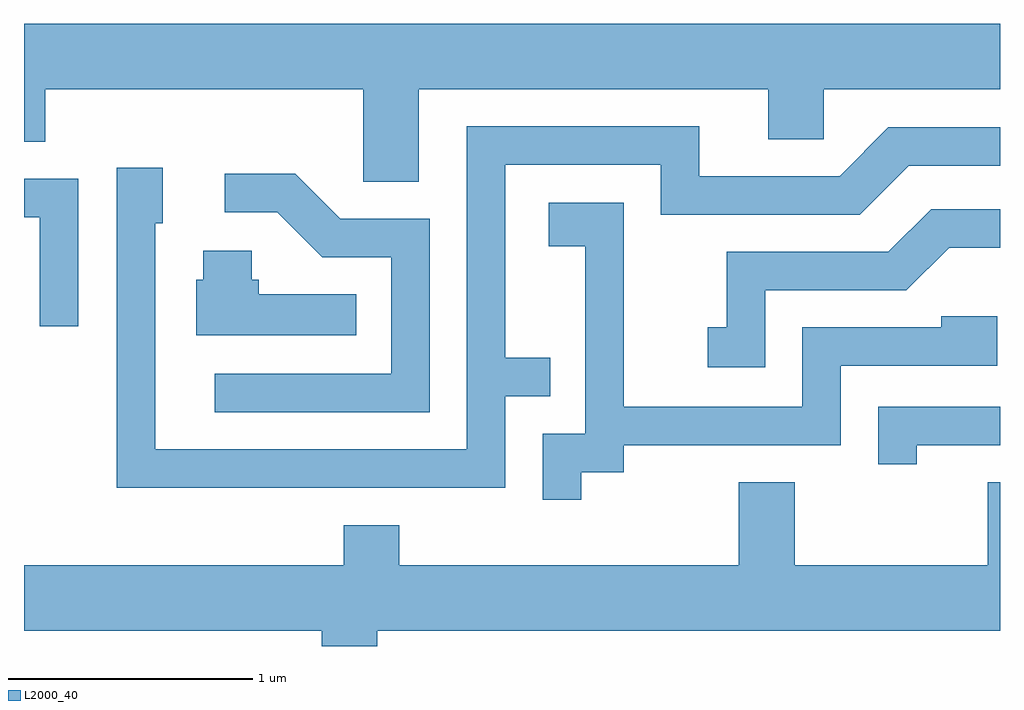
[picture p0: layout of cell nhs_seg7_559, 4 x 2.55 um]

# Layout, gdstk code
import gdstk
lib = gdstk.Library(unit=1e-6, precision=1e-09)
def P(c, l, *ps):  # polygons
    for p in ps: c.add(gdstk.Polygon(p, *l))
L2000_40 = (2000, 40)

nhs_seg7_559 = lib.new_cell('nhs_seg7_559')
P(nhs_seg7_559, L2000_40, [(203.229,1716.536),(204.661,1716.536),(204.661,1716.331),(204.889,1716.331),(204.889,1716.536),(205.611,1716.536),(205.611,1716.804),(201.611,1716.804),(201.611,1716.321),(201.699,1716.321),(201.699,1716.536),(203.001,1716.536),(203.001,1716.156),(203.229,1716.156)],
  [(203.584,1715.276),(203.768,1715.276),(203.768,1715.434),(203.584,1715.434),(203.584,1716.226),(204.221,1716.226),(204.221,1716.021),(205.037,1716.021),(205.237,1716.221),(205.611,1716.221),(205.611,1716.379),(205.154,1716.379),(204.954,1716.179),(204.379,1716.179),(204.379,1716.384),(203.426,1716.384),(203.426,1715.059),(202.149,1715.059),(202.149,1715.986),(202.179,1715.986),(202.179,1716.214),(201.991,1716.214),(201.991,1714.901),(203.584,1714.901)],
  [(203.274,1716.004),(202.907,1716.004),(202.722,1716.189),(202.433,1716.189),(202.433,1716.031),(202.649,1716.031),(202.834,1715.846),(203.116,1715.846),(203.116,1715.369),(202.393,1715.369),(202.393,1715.211),(203.274,1715.211)],
  [(201.834,1716.169),(201.611,1716.169),(201.611,1716.011),(201.676,1716.011),(201.676,1715.563),(201.834,1715.563)],
  [(203.894,1714.966),(204.069,1714.966),(204.069,1715.076),(204.959,1715.076),(204.959,1715.401),(205.599,1715.401),(205.599,1715.604),(205.371,1715.604),(205.371,1715.559),(204.801,1715.559),(204.801,1715.234),(204.069,1715.234),(204.069,1716.069),(203.761,1716.069),(203.761,1715.891),(203.911,1715.891),(203.911,1715.124),(203.736,1715.124),(203.736,1714.853),(203.894,1714.853)],
  [(204.649,1715.711),(205.227,1715.711),(205.402,1715.886),(205.611,1715.886),(205.611,1716.044),(205.329,1716.044),(205.154,1715.869),(204.491,1715.869),(204.491,1715.559),(204.413,1715.559),(204.413,1715.396),(204.649,1715.396)],
  [(202.973,1715.694),(202.574,1715.694),(202.574,1715.754),(202.544,1715.754),(202.544,1715.874),(202.346,1715.874),(202.346,1715.754),(202.316,1715.754),(202.316,1715.526),(202.973,1715.526)],
  [(205.269,1715.076),(205.611,1715.076),(205.611,1715.234),(205.111,1715.234),(205.111,1714.998),(205.269,1714.998)],
  [(203.059,1714.316),(205.611,1714.316),(205.611,1714.924),(205.561,1714.924),(205.561,1714.584),(204.769,1714.584),(204.769,1714.924),(204.541,1714.924),(204.541,1714.584),(203.149,1714.584),(203.149,1714.749),(202.921,1714.749),(202.921,1714.584),(201.611,1714.584),(201.611,1714.316),(202.831,1714.316),(202.831,1714.252),(203.059,1714.252)])

lib.write_gds('nhs_seg7_559.gds')
